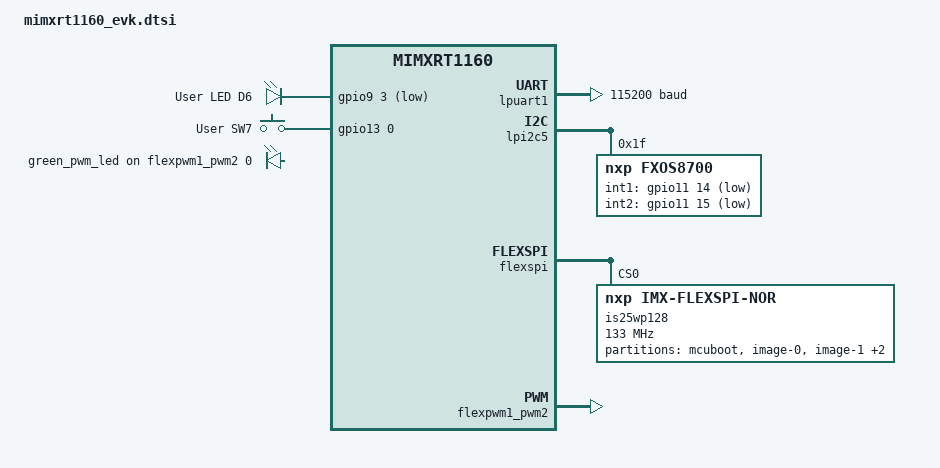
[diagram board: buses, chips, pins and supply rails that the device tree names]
/*
 * Copyright (c) 2021, NXP
 *
 * SPDX-License-Identifier: Apache-2.0
 */

#include "mimxrt1160_evk-pinctrl.dtsi"
#include <zephyr/dt-bindings/input/input-event-codes.h>

/ {
	aliases {
		led0 = &green_led;
		sw0 = &user_button;
		magn0 = &fxos8700;
		accel0 = &fxos8700;
		sdhc0 = &usdhc1;
	};

	leds {
		compatible = "gpio-leds";
		green_led: led-1 {
			gpios = <&gpio9 3 GPIO_ACTIVE_LOW>;
			label = "User LED D6";
		};
	};

	gpio_keys {
		compatible = "gpio-keys";
		user_button: button-1 {
			label = "User SW7";
			gpios = <&gpio13 0 GPIO_ACTIVE_HIGH>;
			zephyr,code = <INPUT_KEY_0>;
		};
	};

	pwmleds {
		compatible = "pwm-leds";

		green_pwm_led: green_pwm_led {
			pwms = <&flexpwm1_pwm2 0 PWM_MSEC(20) PWM_POLARITY_NORMAL>;
		};
	};
};

&lpuart1 {
	status = "okay";
	current-speed = <115200>;
	pinctrl-0 = <&pinmux_lpuart1>;
	pinctrl-1 = <&pinmux_lpuart1_sleep>;
	pinctrl-names = "default", "sleep";
};

&lpuart2 {
	pinctrl-0 = <&pinmux_lpuart2>;
	pinctrl-1 = <&pinmux_lpuart2_sleep>;
	pinctrl-names = "default", "sleep";
};

&user_button {
	status = "okay";
};

&green_led {
	status = "okay";
};

&lpi2c5 {
	status = "okay";
	pinctrl-0 = <&pinmux_lpi2c1>;
	pinctrl-names = "default";

	fxos8700: fxos8700@1f {
		compatible = "nxp,fxos8700";
		reg = <0x1f>;

		/* Two zero ohm resistors (R256 and R270) isolate sensor
		 * interrupt gpios from the soc and are unpopulated by default.
		 * Note that if you populate them, they conflict with camera and
		 * ethernet PHY reset signals.
		 */
		int1-gpios = <&gpio11 14 GPIO_ACTIVE_LOW>;
		int2-gpios = <&gpio11 15 GPIO_ACTIVE_LOW>;
	};
};

&flexspi {
	status = "okay";
	ahb-prefetch;
	ahb-read-addr-opt;
	rx-clock-source = <1>;
	reg = <0x400cc000 0x4000>, <0x30000000 DT_SIZE_M(16)>;
	is25wp128: is25wp128@0 {
		compatible = "nxp,imx-flexspi-nor";
		size = <134217728>;
		reg = <0>;
		spi-max-frequency = <133000000>;
		status = "okay";
		jedec-id = [9d 70 17];
		erase-block-size = <4096>;
		write-block-size = <1>;

		partitions {
			compatible = "fixed-partitions";
			#address-cells = <1>;
			#size-cells = <1>;

			boot_partition: partition@0 {
				label = "mcuboot";
				reg = <0x00000000 DT_SIZE_K(128)>;
			};
			/* Note slot 0 has one additional sector,
			 * this is intended for use with the swap move algorithm
			 */
			slot0_partition: partition@20000 {
				label = "image-0";
				reg = <0x00020000 0x301000>;
			};
			slot1_partition: partition@321000 {
				label = "image-1";
				reg = <0x00321000 0x300000>;
			};
			scratch_partition: partition@621000 {
				label = "image-scratch";
				reg = <0x00621000 DT_SIZE_K(128)>;
			};
			storage_partition: partition@641000 {
				label = "storage";
				reg = <0x00641000 DT_SIZE_K(1856)>;
			};
		};
	};
};

&flexpwm1_pwm2 {
	status = "okay";
	pinctrl-0 = <&pinmux_flexpwm1>;
	pinctrl-names = "default";
};

&enet {
	pinctrl-0 = <&pinmux_enet>;
	pinctrl-names = "default";
	ptp {
		pinctrl-0 = <&pinmux_ptp>;
		pinctrl-names = "default";
	};
};

&csi {
	pinctrl-0 = <&pinmux_csi>;
	pinctrl-names = "default";
};

&flexcan3 {
	pinctrl-0 = <&pinmux_flexcan3>;
	pinctrl-names = "default";
};

&lcdif {
	pinctrl-0 = <&pinmux_lcdif>;
	pinctrl-names = "default";
};

&lpi2c1 {
	pinctrl-0 =<&pinmux_lpi2c5>;
	pinctrl-names = "default";
};

&lpspi1 {
	pinctrl-0 = <&pinmux_lpspi1>;
	pinctrl-names = "default";
};

&lpuart2 {
	pinctrl-0 = <&pinmux_lpuart2>;
	pinctrl-1 = <&pinmux_lpuart2_sleep>;
	pinctrl-names = "default", "sleep";
};

&sai1 {
	pinctrl-0 = <&pinmux_sai1>;
	pinctrl-names = "default";
};

&lpadc0 {
	pinctrl-0 = <&pinmux_lpadc0>;
	pinctrl-names = "default";
};

&flexspi {
	pinctrl-0 = <&pinmux_flexspi1>;
	pinctrl-names = "default";
};

&usdhc1 {
	pinctrl-0 = <&pinmux_usdhc1>;
	pinctrl-1 = <&pinmux_usdhc1_dat3_nopull>;
	pinctrl-names = "default", "nopull";
};
